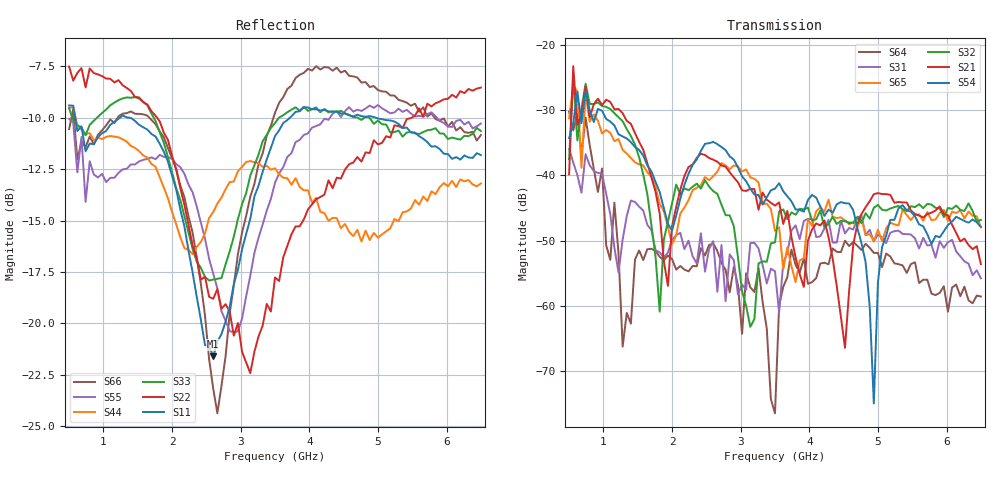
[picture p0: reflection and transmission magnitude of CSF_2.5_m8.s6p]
!Keysight Technologies,M9804A,MY58100912,A.14.10.03
!Date: Thursday, April 27, 2023 10:28:33
!Correction: S11(C  6-Port  )
!S12(C  6-Port  )
!S13(C  6-Port  )
!S14(C  6-Port  )
!S15(C  6-Port  )
!S16(C  6-Port  )
!S21(C  6-Port  )
!S22(C  6-Port  )
!S23(C  6-Port  )
!S24(C  6-Port  )
!S25(C  6-Port  )
!S26(C  6-Port  )
!S31(C  6-Port  )
!S32(C  6-Port  )
!S33(C  6-Port  )
!S34(C  6-Port  )
!S35(C  6-Port  )
!S36(C  6-Port  )
!S41(C  6-Port  )
!S42(C  6-Port  )
!S43(C  6-Port  )
!S44(C  6-Port  )
!S45(C  6-Port  )
!S46(C  6-Port  )
!S51(C  6-Port  )
!S52(C  6-Port  )
!S53(C  6-Port  )
!S54(C  6-Port  )
!S55(C  6-Port  )
!S56(C  6-Port  )
!S61(C  6-Port  )
!S62(C  6-Port  )
!S63(C  6-Port  )
!S64(C  6-Port  )
!S65(C  6-Port  )
!S66(C  6-Port  )
!S6P File: Measurement: :
# Hz S  RI  R 50
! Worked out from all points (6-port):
!   101 points, 500 MHz to 6.5 GHz, reference 50 ohm
!   strongest paths, dB at 500 MHz, 2 GHz, 3.5 GHz, 5 GHz, 6.5 GHz:
!     S54: -34.3, -48.4, -42.0, -56.4, -47.9
!     S21: -39.9, -47.8, -44.6, -42.7, -53.6
!     S32: -37.5, -44.3, -50.3, -44.5, -46.8
!     S65: -31.3, -50.6, -48.5, -48.3, -48.0
!     S31: -36.0, -49.9, -54.7, -49.1, -55.8
!     S64: -30.2, -52.8, -76.5, -51.9, -58.6
!   lowest |S11| = -21.6 dB at 2.6 GHz (marker M1), VSWR 1.18, Z = 42.6 + j2.03 ohm
!   |S11| at or under -10 dB: 588.8 MHz to 1.237 GHz (648.2 MHz wide, 71 % of centre); 1.392 GHz to 3.715 GHz (2.323 GHz wide, 91 % of centre); 4.974 GHz to end of sweep
